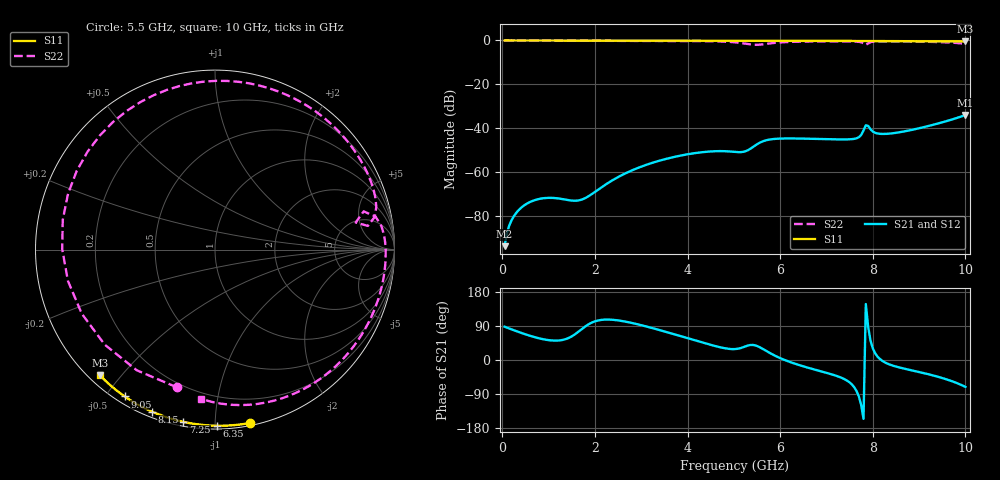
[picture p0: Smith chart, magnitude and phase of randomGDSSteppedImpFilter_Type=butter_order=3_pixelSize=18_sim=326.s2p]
! freq	dB(S11)	phase(S11)	dB(S12)	phase(S12)
!  dB(S21)	phase(S21)	dB(S22)	phase(S22)
!S-par simulation data
#  GHz  S  DB  R 50
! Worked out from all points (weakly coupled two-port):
!   200 points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, 50 MHz to 10 GHz, reference 50 ohm
!   highest |S21| = -33.95 dB at 10 GHz (marker M1); lowest = -93.7 dB at 50 MHz (marker M2)
!   lowest |S11| = -0.5 dB at 10 GHz (marker M3), VSWR 38.58, Z = 1.55 - j22 ohm
!   |S11| at or under -10 dB: nowhere
!   |S22| runs from -2.0 to 0.0 dB; largest |S21 - S12| = 0
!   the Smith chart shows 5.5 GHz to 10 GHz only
!   S11 on the Smith chart (normalised r, x): 5.5 GHz: 0.02, -1.22; 6.35 GHz: 0.02, -1.01; 7.25 GHz: 0.02, -0.83; 8.15 GHz: 0.02, -0.69; 9.05 GHz: 0.03, -0.56; 10 GHz: 0.03, -0.44
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0.05  -0.00 -0.8  -93.66 87.8  -93.66 87.8  -0.00 -4.0
0.9  -0.02 -13.7  -71.79 54.4  -71.79 54.4  -0.08 -67.6
1.75  -0.03 -26.4  -72.17 84.8  -72.17 84.8  -0.13 -121.5
2.55  -0.05 -38.2  -61.65 103.6  -61.65 103.6  -0.15 -164.3
3.4  -0.07 -50.3  -54.70 78.8  -54.70 78.8  -0.19 153.1
4.45  -0.09 -64.8  -50.60 41.7  -50.60 41.7  -0.34 91.0
4.8  -0.10 -69.5  -50.42 31.2  -50.42 31.2  -0.54 58.7
5.05  -0.11 -72.8  -50.79 29.1  -50.79 29.1  -0.89 23.1
5.25  -0.12 -75.4  -50.46 35.9  -50.46 35.9  -1.46 -22.1
5.5  -0.13 -78.7  -47.27 37.1  -47.27 37.1  -1.98 -105.6
5.65  -0.13 -80.6  -45.75 27.5  -45.75 27.5  -1.68 -154.3
5.8  -0.14 -82.5  -45.02 17.0  -45.02 17.0  -1.27 168.9
6.05  -0.15 -85.7  -44.65 2.4  -44.65 2.4  -0.82 128.7
6.35  -0.16 -89.5  -44.64 -11.0  -44.64 -11.0  -0.58 97.8
6.7  -0.18 -93.8  -44.79 -23.8  -44.79 -23.8  -0.46 71.8
7.25  -0.21 -100.5  -45.06 -43.4  -45.06 -43.4  -0.42 39.5
7.7  -0.24 -105.9  -44.05 -96.3  -44.05 -96.3  -0.63 14.8
7.85  -0.27 -107.7  -38.60 147.7  -38.60 147.7  -1.96 10.9
8.15  -0.28 -111.2  -42.50 3.1  -42.50 3.1  -0.44 -0.4
8.35  -0.29 -113.5  -42.44 -11.3  -42.44 -11.3  -0.43 -10.1
9.05  -0.35 -121.6  -39.73 -33.1  -39.73 -33.1  -0.56 -41.5
10  -0.45 -132.4  -33.95 -70.9  -33.95 -70.9  -1.56 -95.2
